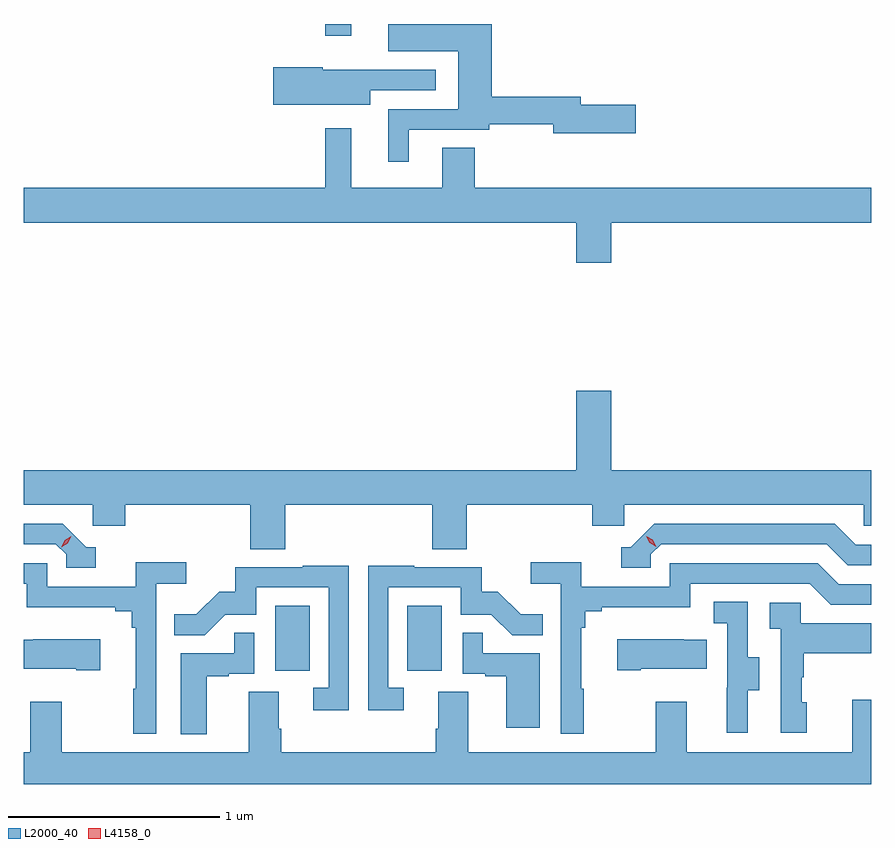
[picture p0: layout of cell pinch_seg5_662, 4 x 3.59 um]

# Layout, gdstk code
import gdstk
lib = gdstk.Library(unit=1e-6, precision=1e-09)
def R(c, l, rs):  # rectangles x0, y0, x1, y1
    for r in rs: c.add(gdstk.rectangle(r[:2], r[2:], *l))
def P(c, l, *ps):  # polygons
    for p in ps: c.add(gdstk.Polygon(p, *l))
L2000_40 = (2000, 40)
L4158_0 = (4158, 0)

pinch_seg5_662 = lib.new_cell('pinch_seg5_662')
R(pinch_seg5_662, L2000_40, [(1074.674,833.334,1074.838,833.641), (1075.298,833.334,1075.462,833.641), (1074.912,836.331,1075.033,836.386)])
P(pinch_seg5_662, L2000_40, [(1075.306,835.887),(1075.684,835.887),(1075.684,835.914),(1075.988,835.914),(1075.988,835.871),(1076.377,835.871),(1076.377,836.006),(1076.116,836.006),(1076.116,836.042),(1075.697,836.042),(1075.697,836.386),(1075.208,836.386),(1075.208,836.258),(1075.538,836.258),(1075.538,835.983),(1075.208,835.983),(1075.208,835.737),(1075.306,835.737)],
  [(1075.123,836.073),(1075.432,836.073),(1075.432,836.169),(1075.119,836.169),(1075.119,836.17),(1074.9,836.17),(1074.9,836.183),(1074.666,836.183),(1074.666,836.005),(1075.123,836.005)],
  [(1076.26,835.448),(1077.488,835.448),(1077.488,835.612),(1075.616,835.612),(1075.616,835.802),(1075.463,835.802),(1075.463,835.612),(1075.033,835.612),(1075.033,835.894),(1074.912,835.894),(1074.912,835.612),(1073.488,835.612),(1073.488,835.448),(1076.096,835.448),(1076.096,835.26),(1076.26,835.26)],
  [(1074.722,834.116),(1075.415,834.116),(1075.415,833.908),(1075.58,833.908),(1075.58,834.116),(1076.171,834.116),(1076.171,834.018),(1076.322,834.018),(1076.322,834.116),(1077.453,834.116),(1077.453,834.018),(1077.488,834.018),(1077.488,834.28),(1076.26,834.28),(1076.26,834.655),(1076.096,834.655),(1076.096,834.28),(1073.488,834.28),(1073.488,834.116),(1073.814,834.116),(1073.814,834.018),(1073.966,834.018),(1073.966,834.116),(1074.557,834.116),(1074.557,833.908),(1074.722,833.908)],
  [(1076.448,833.883),(1076.496,833.931),(1077.279,833.931),(1077.378,833.832),(1077.488,833.832),(1077.488,833.928),(1077.415,833.928),(1077.316,834.027),(1076.463,834.027),(1076.352,833.916),(1076.309,833.916),(1076.309,833.82),(1076.448,833.82)],
  [(1073.827,833.916),(1073.784,833.916),(1073.673,834.027),(1073.488,834.027),(1073.488,833.931),(1073.64,833.931),(1073.688,833.883),(1073.688,833.82),(1073.827,833.82)],
  [(1076.131,833.249),(1076.119,833.249),(1076.119,833.537),(1076.138,833.537),(1076.138,833.614),(1076.215,833.614),(1076.215,833.633),(1076.634,833.633),(1076.634,833.745),(1077.198,833.745),(1077.297,833.646),(1077.488,833.646),(1077.488,833.742),(1077.334,833.742),(1077.235,833.841),(1076.538,833.841),(1076.538,833.73),(1076.12,833.73),(1076.12,833.846),(1075.881,833.846),(1075.881,833.744),(1076.022,833.744),(1076.022,833.037),(1076.131,833.037)],
  [(1074.114,833.744),(1074.256,833.744),(1074.256,833.846),(1074.017,833.846),(1074.017,833.73),(1073.598,833.73),(1073.598,833.841),(1073.488,833.841),(1073.488,833.745),(1073.502,833.745),(1073.502,833.633),(1073.921,833.633),(1073.921,833.614),(1073.998,833.614),(1073.998,833.537),(1074.017,833.537),(1074.017,833.249),(1074.006,833.249),(1074.006,833.037),(1074.114,833.037)],
  [(1075.023,833.828),(1074.805,833.828),(1074.805,833.823),(1074.487,833.823),(1074.487,833.706),(1074.41,833.706),(1074.303,833.599),(1074.199,833.599),(1074.199,833.5),(1074.342,833.5),(1074.44,833.598),(1074.585,833.598),(1074.585,833.727),(1074.927,833.727),(1074.927,833.253),(1074.855,833.253),(1074.855,833.148),(1075.023,833.148)],
  [(1075.282,833.253),(1075.209,833.253),(1075.209,833.727),(1075.551,833.727),(1075.551,833.598),(1075.695,833.598),(1075.793,833.5),(1075.937,833.5),(1075.937,833.599),(1075.833,833.599),(1075.726,833.706),(1075.65,833.706),(1075.65,833.823),(1075.331,833.823),(1075.331,833.828),(1075.113,833.828),(1075.113,833.148),(1075.282,833.148)],
  [(1076.905,833.242),(1076.959,833.242),(1076.959,833.397),(1076.904,833.397),(1076.904,833.66),(1076.745,833.66),(1076.745,833.557),(1076.808,833.557),(1076.808,833.253),(1076.807,833.253),(1076.807,833.04),(1076.905,833.04)],
  [(1077.184,833.184),(1077.159,833.184),(1077.159,833.303),(1077.169,833.303),(1077.169,833.417),(1077.488,833.417),(1077.488,833.557),(1077.156,833.557),(1077.156,833.655),(1077.009,833.655),(1077.009,833.531),(1077.06,833.531),(1077.06,833.04),(1077.184,833.04)],
  [(1075.924,833.415),(1075.655,833.415),(1075.655,833.513),(1075.56,833.513),(1075.56,833.319),(1075.667,833.319),(1075.667,833.307),(1075.766,833.307),(1075.766,833.064),(1075.924,833.064)],
  [(1074.352,833.307),(1074.455,833.307),(1074.455,833.319),(1074.576,833.319),(1074.576,833.513),(1074.481,833.513),(1074.481,833.415),(1074.23,833.415),(1074.23,833.033),(1074.352,833.033)],
  [(1076.401,833.342),(1076.711,833.342),(1076.711,833.479),(1076.603,833.479),(1076.603,833.482),(1076.289,833.482),(1076.289,833.335),(1076.401,833.335)],
  [(1073.848,833.482),(1073.533,833.482),(1073.533,833.479),(1073.488,833.479),(1073.488,833.342),(1073.735,833.342),(1073.735,833.335),(1073.848,833.335)],
  [(1077.488,833.197),(1077.398,833.197),(1077.398,832.948),(1076.617,832.948),(1076.617,833.188),(1076.47,833.188),(1076.47,832.948),(1075.585,832.948),(1075.585,833.234),(1075.445,833.234),(1075.445,833.06),(1075.433,833.06),(1075.433,832.948),(1074.704,832.948),(1074.704,833.06),(1074.691,833.06),(1074.691,833.234),(1074.551,833.234),(1074.551,832.948),(1073.667,832.948),(1073.667,833.188),(1073.519,833.188),(1073.519,832.948),(1073.488,832.948),(1073.488,832.799),(1077.488,832.799)])
P(pinch_seg5_662, L4158_0, [(1073.664,833.916),(1073.664,833.916),(1073.681,833.949),(1073.712,833.968),(1073.712,833.968),(1073.712,833.968),(1073.696,833.935),(1073.664,833.916)],
  [(1076.473,833.918),(1076.442,833.937),(1076.425,833.969),(1076.425,833.969),(1076.426,833.969),(1076.456,833.951),(1076.473,833.918),(1076.473,833.918)])

lib.write_gds('pinch_seg5_662.gds')
